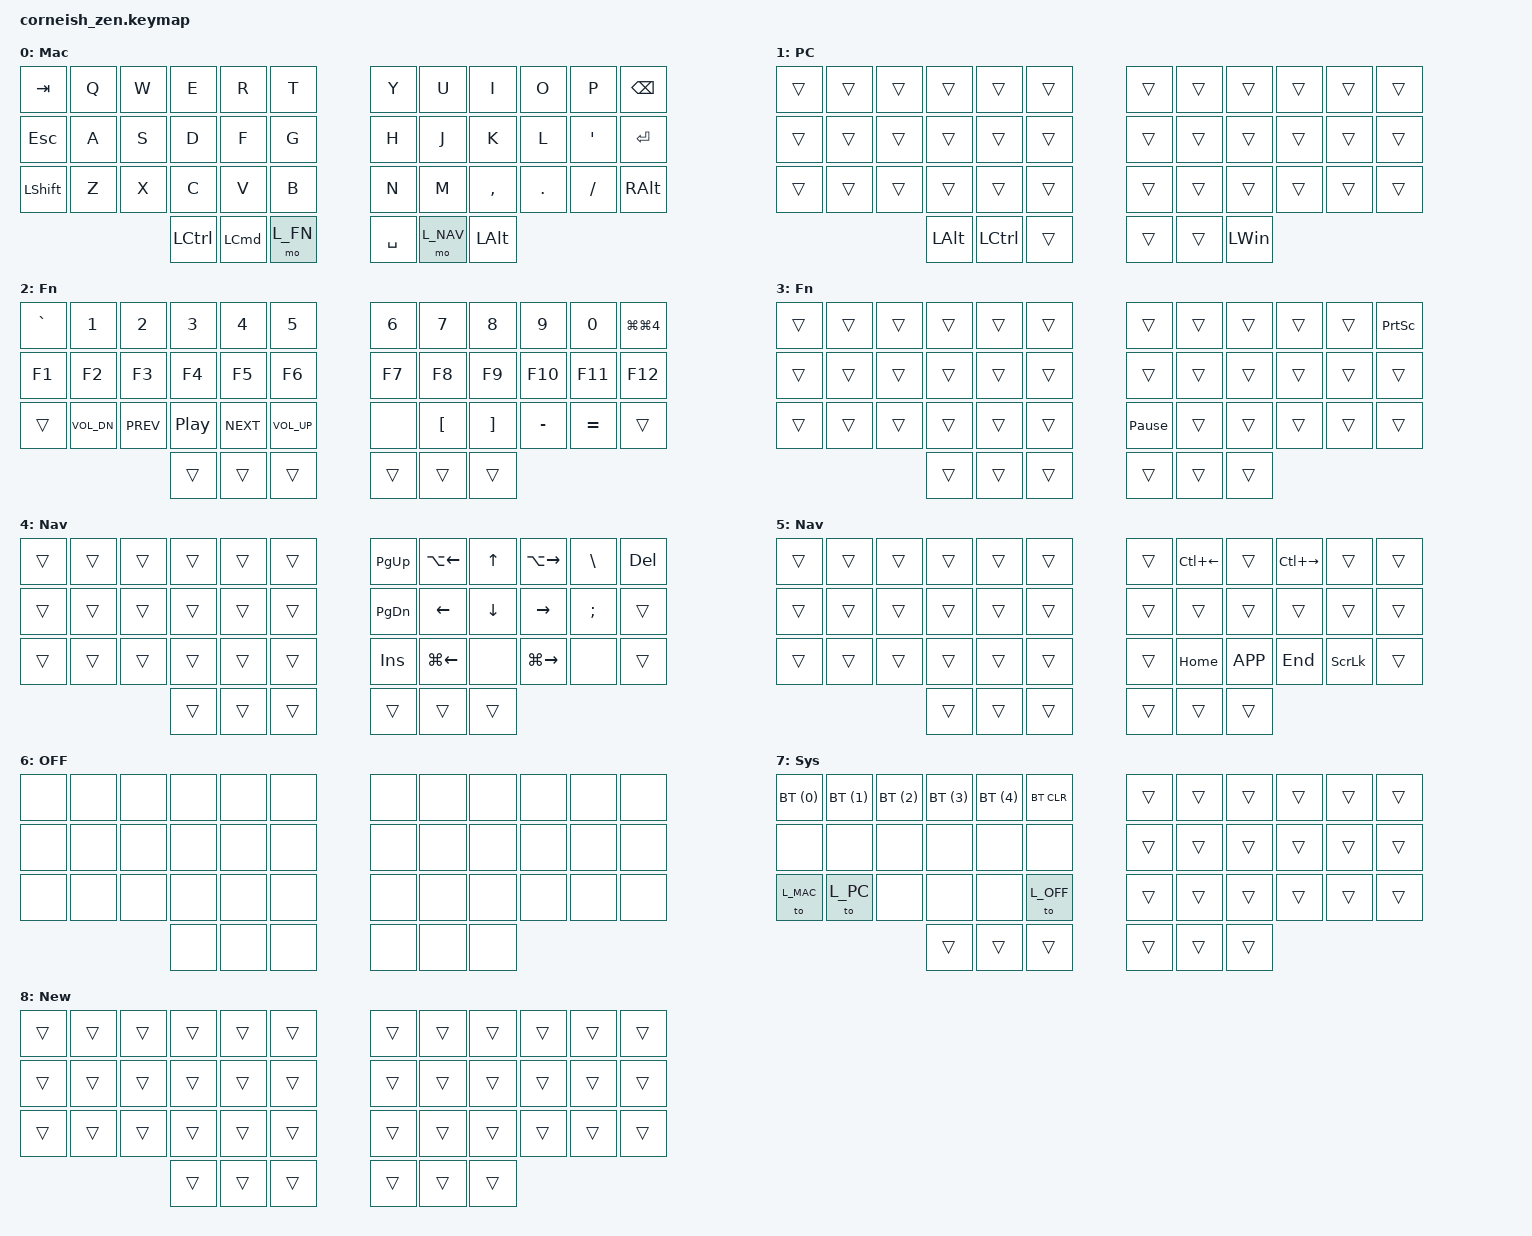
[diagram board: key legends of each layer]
#include <behaviors.dtsi>
#include <dt-bindings/zmk/keys.h>
#include <dt-bindings/zmk/bt.h>

#define L_MAC 0
#define L_PC 1
#define L_FN 2
#define L_FN_PC 3
#define L_NAV 4
#define L_NAV_PC 5
#define L_OFF 6
#define L_SYS 7

/ {
    chosen {
        zmk,matrix_transform = &default_transform;
    };
    keymap {
        compatible = "zmk,keymap";
        Mac {
            label = "Mac";
            // ===============================================================          ===============================================================
            // ||   TAB   |    Q    |    W    |    E    |    R    |    T    ||          ||    Y    |    U    |    I    |    O    |    P    |  BSPC   ||
            // ||   ESC   |    A    |    S    |    D    |    F    |    G    ||          ||    H    |    J    |    K    |    L    |    '    | RETURN  ||
            // ||  LSHFT  |    Z    |    X    |    C    |    V    |    B    ||          ||    N    |    M    |    ,    |    .    |    /    |  ALTGR  ||
            // ==============================||  LCTRL  |  LCMD   |   FN    ||          ||  SPACE  |   NAV   |  LALT   ||==============================
            //                               =================================          =================================
            bindings = <
                &kp TAB &kp Q &kp W &kp E &kp R &kp T                                   &kp Y &kp U &kp I &kp O &kp P &kp BSPC
                &kp ESCAPE &kp A &kp S &kp D &kp F &kp G                                &kp H &kp J &kp K &kp L &kp APOSTROPHE &kp ENTER
                &kp LSHFT &kp Z &kp X &kp C &kp V &kp B                                 &kp N &kp M &kp COMMA &kp DOT &kp FSLH &kp RALT
                &kp LCTRL &kp LCMD &mo L_FN                                             &kp SPACE &mo L_NAV &kp LALT
            >;
        };
        PC {
            label = "PC";
            // ===============================================================          ===============================================================
            // ||         |         |         |         |         |         ||          ||         |         |         |         |         |         ||
            // ||         |         |         |         |         |         ||          ||         |         |         |         |         |         ||
            // ||         |         |         |         |         |         ||          ||         |         |         |         |         |         ||
            // ==============================||  LALT   |  LCTRL  |         ||          ||         |         |  LWIN   ||==============================
            //                               =================================          =================================
            bindings = <
                &trans &trans &trans &trans &trans &trans                               &trans &trans &trans &trans &trans &trans
                &trans &trans &trans &trans &trans &trans                               &trans &trans &trans &trans &trans &trans
                &trans &trans &trans &trans &trans &trans                               &trans &trans &trans &trans &trans &trans
                &kp LALT &kp LCTRL &trans                                               &trans &trans &kp LWIN
            >;
        };
        Function {
            label = "Fn";
            // ===============================================================          ===============================================================
            // ||    `    |    1    |    2    |    3    |    4    |    5    ||          ||    6    |    7    |    8    |    9    |    0    |  PSCRN  ||
            // ||   F1    |   F2    |   F3    |   F4    |   F5    |   F6    ||          ||   F7    |   F8    |   F9    |   F10   |   F11   |   F12   ||
            // ||         | VOL DN  |  PREV   |  PLAY   |  NEXT   | VOL UP  ||          ||         |    [    |    ]    |    -    |    =    |         ||
            // ==============================||         |         |         ||          ||         |         |         ||==============================
            //                               =================================          =================================
            bindings = <
                &kp GRAVE &kp N1 &kp N2 &kp N3 &kp N4 &kp N5                            &kp N6 &kp N7 &kp N8 &kp N9 &kp N0 &kp LG(LG(N4))
                &kp F1 &kp F2 &kp F3 &kp F4 &kp F5 &kp F6                               &kp F7 &kp F8 &kp F9 &kp F10 &kp F11 &kp F12
                &trans &kp C_VOL_DN &kp C_PREV &kp C_PP &kp C_NEXT &kp C_VOL_UP         &none &kp LBKT &kp RBKT &kp MINUS &kp EQUAL &trans
                &trans &trans &trans                                                    &trans &trans &trans
            >;
        };
        FunctionPC {
            label = "Fn";
            // ===============================================================          ===============================================================
            // ||         |         |         |         |         |         ||          ||         |         |         |         |         |  PSCRN  ||
            // ||         |         |         |         |         |         ||          ||         |         |         |         |         |         ||
            // ||         |         |         |         |         |         ||          ||  BREAK  |         |         |         |         |         ||
            // ==============================||         |         |         ||          ||         |         |         ||==============================
            //                               =================================          =================================
            bindings = <
                &trans &trans &trans &trans &trans &trans                               &trans &trans &trans &trans &trans &kp PSCRN
                &trans &trans &trans &trans &trans &trans                               &trans &trans &trans &trans &trans &trans
                &trans &trans &trans &trans &trans &trans                               &kp PAUSE_BREAK &trans &trans &trans &trans &trans
                &trans &trans &trans                                                    &trans &trans &trans
            >;
        };
        Navigation {
            label = "Nav";
            // ===============================================================          ===============================================================
            // ||         |         |         |         |         |         ||          ||  PG_UP  | L_WORD  |   UP    | R_WORD  |    \    |   DEL   ||
            // ||         |         |         |         |         |         ||          || PG_DOWN |  LEFT   |  DOWN   |  RIGHT  |    ;    |         ||
            // ||         |         |         |         |         |         ||          ||   INS   |  HOME   |         |   END   |         |         ||
            // ==============================||         |         |         ||          ||         |         |         ||==============================
            //                               =================================          =================================
            bindings = <
                &trans &trans &trans &trans &trans &trans                               &kp PAGE_UP &kp LA(LEFT) &kp UP &kp LA(RIGHT) &kp BSLH &kp DEL
                &trans &trans &trans &trans &trans &trans                               &kp PAGE_DOWN &kp LEFT &kp DOWN &kp RIGHT &kp SEMI &trans
                &trans &trans &trans &trans &trans &trans                               &kp INS &kp LG(LEFT) &none &kp LG(RIGHT) &none &trans
                &trans &trans &trans                                                    &trans &trans &trans
            >;
        };
        NavigationPC {
            label = "Nav";
            // ===============================================================          ===============================================================
            // ||         |         |         |         |         |         ||          ||         | L_WORD  |         | R_WORD  |         |         ||
            // ||         |         |         |         |         |         ||          ||         |         |         |         |         |         ||
            // ||         |         |         |         |         |         ||          ||         |  HOME   |   APP   |   END   |  SLCK   |         ||
            // ==============================||         |         |         ||          ||         |         |         ||==============================
            //                               =================================          =================================
            bindings = <
                &trans &trans &trans &trans &trans &trans                               &trans &kp LC(LEFT) &trans &kp LC(RIGHT) &trans &trans
                &trans &trans &trans &trans &trans &trans                               &trans &trans &trans &trans &trans &trans
                &trans &trans &trans &trans &trans &trans                               &trans &kp HOME &kp K_APP &kp END &kp SLCK &trans
                &trans &trans &trans                                                    &trans &trans &trans
            >;
        };
        Disabled {
            label = "OFF";
            // ===============================================================          ===============================================================
            // ||         |         |         |         |         |         ||          ||         |         |         |         |         |         ||
            // ||         |         |         |         |         |         ||          ||         |         |         |         |         |         ||
            // ||         |         |         |         |         |         ||          ||         |         |         |         |         |         ||
            // ==============================||         |         |         ||          ||         |         |         ||==============================
            //                               =================================          =================================
            bindings = <
                &none &none &none &none &none &none                                     &none &none &none &none &none &none
                &none &none &none &none &none &none                                     &none &none &none &none &none &none
                &none &none &none &none &none &none                                     &none &none &none &none &none &none
                &none &none &none                                                       &none &none &none
            >;
        };
        System {
            label = "Sys";
            // ===============================================================          ===============================================================
            // ||  BT 1   |  BT 2   |  BT 3   |  BT 4   |  BT 5   | BT CLR  ||          ||         |         |         |         |         |         ||
            // ||         |         |         |         |         |         ||          ||         |         |         |         |         |         ||
            // ||  TO PC  | TO Mac  |         |         |         |         ||          ||         |         |         |         |         |         ||
            // ==============================||         |         |  LOCK   ||          ||         |         |         ||==============================
            //                               =================================          =================================
            bindings = <
                &bt BT_SEL(0) &bt BT_SEL(1) &bt BT_SEL(2) &bt BT_SEL(3) &bt BT_SEL(4) &bt BT_CLR    &trans &trans &trans &trans &trans &trans
                &none &none &none &none &none &none                                                 &trans &trans &trans &trans &trans &trans
                &to L_MAC &to L_PC &none &none &none &to L_OFF                                      &trans &trans &trans &trans &trans &trans
                &trans &trans &trans                                                                &trans &trans &trans
            >;
        };
        NewLayer {
            label = "New";
            // ===============================================================          ===============================================================
            // ||         |         |         |         |         |         ||          ||         |         |         |         |         |         ||
            // ||         |         |         |         |         |         ||          ||         |         |         |         |         |         ||
            // ||         |         |         |         |         |         ||          ||         |         |         |         |         |         ||
            // ==============================||         |         |         ||          ||         |         |         ||==============================
            //                               =================================          =================================
            bindings = <
                &trans &trans &trans &trans &trans &trans                               &trans &trans &trans &trans &trans &trans
                &trans &trans &trans &trans &trans &trans                               &trans &trans &trans &trans &trans &trans
                &trans &trans &trans &trans &trans &trans                               &trans &trans &trans &trans &trans &trans
                &trans &trans &trans                                                    &trans &trans &trans
            >;
        };
    };
    conditional_layers {
        compatible = "zmk,conditional-layers";
        cl_sym_pc {
            if-layers = <L_PC L_FN>;
            then-layer = <L_FN_PC>;
        };
        cl_nav_pc {
            if-layers = <L_PC L_NAV>;
            then-layer = <L_NAV_PC>;
        };
    };
    combos {
        compatible = "zmk,combos";
        combo_sys_osl {
            // ===============================================================          ===============================================================
            // ||         |         |         |         |         |         ||          ||         |         |         |         |         |         ||
            // ||         |         |         |         |         |         ||          ||         |         |         |         |         |         ||
            // ||         |         |         |         |         |         ||          ||         |         |         |         |         |         ||
            // ==============================||    X    |    X    |    X    ||          ||         |         |         ||==============================
            //                               =================================          =================================
            timeout-ms = <50>;
            key-positions = <36 37 38>;
            bindings = <&sl L_SYS>;
        };
    };
};
